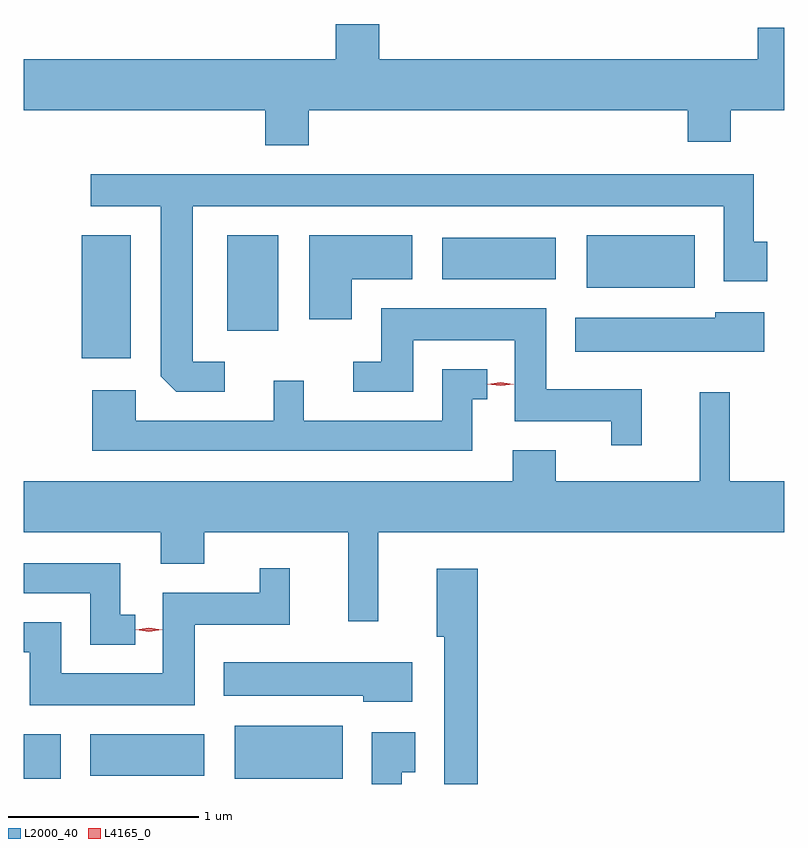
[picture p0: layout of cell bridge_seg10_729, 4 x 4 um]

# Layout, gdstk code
import gdstk
lib = gdstk.Library(unit=1e-6, precision=1e-09)
def R(c, l, rs):  # rectangles x0, y0, x1, y1
    for r in rs: c.add(gdstk.rectangle(r[:2], r[2:], *l))
def P(c, l, *ps):  # polygons
    for p in ps: c.add(gdstk.Polygon(p, *l))
L2000_40 = (2000, 40)
L4165_0 = (4165, 0)

bridge_seg10_729 = lib.new_cell('bridge_seg10_729')
R(bridge_seg10_729, L2000_40, [(588.66,2192.541,588.854,2192.774), (589.771,2192.541,590.339,2192.819), (589.011,2192.556,589.609,2192.774), (588.966,2194.751,589.224,2195.399), (589.731,2194.896,589.999,2195.399), (591.621,2195.121,592.189,2195.399), (590.861,2195.166,591.459,2195.384)])
P(bridge_seg10_729, L2000_40, [(590.159,2196.056),(592.151,2196.056),(592.151,2195.891),(592.379,2195.891),(592.379,2196.056),(592.66,2196.056),(592.66,2196.489),(592.521,2196.489),(592.521,2196.324),(590.529,2196.324),(590.529,2196.509),(590.301,2196.509),(590.301,2196.324),(588.66,2196.324),(588.66,2196.056),(589.931,2196.056),(589.931,2195.871),(590.159,2195.871)],
  [(589.718,2194.734),(589.549,2194.734),(589.549,2195.551),(592.341,2195.551),(592.341,2195.156),(592.569,2195.156),(592.569,2195.364),(592.499,2195.364),(592.499,2195.719),(589.013,2195.719),(589.013,2195.551),(589.381,2195.551),(589.381,2194.657),(589.462,2194.576),(589.718,2194.576)],
  [(590.384,2195.166),(590.704,2195.166),(590.704,2195.399),(590.161,2195.399),(590.161,2194.956),(590.384,2194.956)],
  [(591.909,2194.589),(591.409,2194.589),(591.409,2195.014),(590.541,2195.014),(590.541,2194.734),(590.393,2194.734),(590.393,2194.576),(590.709,2194.576),(590.709,2194.846),(591.241,2194.846),(591.241,2194.421),(591.751,2194.421),(591.751,2194.293),(591.909,2194.293)],
  [(592.554,2194.994),(592.296,2194.994),(592.296,2194.964),(591.561,2194.964),(591.561,2194.786),(592.554,2194.786)],
  [(591.019,2194.536),(591.098,2194.536),(591.098,2194.694),(590.861,2194.694),(590.861,2194.424),(590.134,2194.424),(590.134,2194.633),(589.976,2194.633),(589.976,2194.424),(589.249,2194.424),(589.249,2194.584),(589.021,2194.584),(589.021,2194.266),(591.019,2194.266)],
  [(590.524,2193.836),(592.66,2193.836),(592.66,2194.104),(592.374,2194.104),(592.374,2194.573),(592.216,2194.573),(592.216,2194.104),(591.459,2194.104),(591.459,2194.269),(591.231,2194.269),(591.231,2194.104),(588.66,2194.104),(588.66,2193.836),(589.381,2193.836),(589.381,2193.671),(589.609,2193.671),(589.609,2193.836),(590.366,2193.836),(590.366,2193.368),(590.524,2193.368)],
  [(589.248,2193.404),(589.169,2193.404),(589.169,2193.674),(588.66,2193.674),(588.66,2193.516),(589.011,2193.516),(589.011,2193.246),(589.248,2193.246)],
  [(589.559,2193.351),(590.059,2193.351),(590.059,2193.648),(589.901,2193.648),(589.901,2193.519),(589.391,2193.519),(589.391,2193.094),(588.859,2193.094),(588.859,2193.364),(588.66,2193.364),(588.66,2193.206),(588.691,2193.206),(588.691,2192.926),(589.559,2192.926)],
  [(591.049,2193.644),(590.831,2193.644),(590.831,2193.286),(590.871,2193.286),(590.871,2192.513),(591.049,2192.513)],
  [(590.704,2193.154),(589.711,2193.154),(589.711,2192.976),(590.446,2192.976),(590.446,2192.946),(590.704,2192.946)],
  [(590.649,2192.576),(590.719,2192.576),(590.719,2192.784),(590.491,2192.784),(590.491,2192.513),(590.649,2192.513)])
P(bridge_seg10_729, L4165_0, [(591.168,2194.606),(591.099,2194.614),(591.099,2194.615),(591.099,2194.615),(591.168,2194.625),(591.238,2194.616),(591.238,2194.616),(591.238,2194.615)],
  [(589.318,2193.314),(589.249,2193.323),(589.249,2193.324),(589.249,2193.324),(589.318,2193.334),(589.388,2193.324),(589.388,2193.324),(589.388,2193.323)])

lib.write_gds('bridge_seg10_729.gds')
